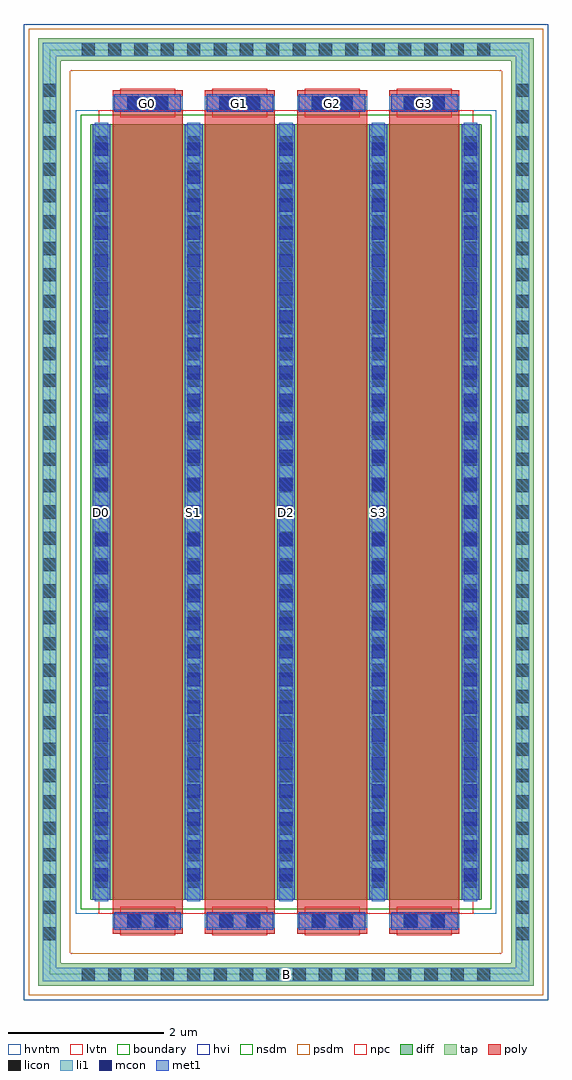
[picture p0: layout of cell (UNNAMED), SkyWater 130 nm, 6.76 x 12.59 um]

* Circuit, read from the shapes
.subckt (UNNAMED) B D0 D2 G0 G1 G2 G3 S1 S3
XM1 S1 G0 D0 B sky130_fd_pr__nfet_05v0_nvt w=10 l=0.9
XM2 D2 G1 S1 B sky130_fd_pr__nfet_05v0_nvt w=10 l=0.9
XM3 S3 G2 D2 B sky130_fd_pr__nfet_05v0_nvt w=10 l=0.9
XM4 n1 G3 S3 B sky130_fd_pr__nfet_05v0_nvt w=10 l=0.9
.ends

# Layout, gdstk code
import gdstk
lib = gdstk.Library(unit=1e-6, precision=1e-09)
def R(c, l, rs):  # rectangles x0, y0, x1, y1
    for r in rs: c.add(gdstk.rectangle(r[:2], r[2:], *l))
def A(c, l, x, y, w, h, nx, ny, dx, dy):  # array of equal rectangles
    R(c, l, [(x+i*dx, y+j*dy, x+i*dx+w, y+j*dy+h) for i in range(nx) for j in range(ny)])
diff = (65, 20)
tap = (65, 44)
poly = (66, 20)
licon = (66, 44)
li1 = (67, 20)
mcon = (67, 44)
met1 = (68, 20)
hvi = (75, 20)
nsdm = (93, 44)
psdm = (94, 20)
npc = (95, 20)
hvntm = (125, 20)
lvtn = (125, 44)
boundary = (235, 4)

c__unnamed_ = lib.new_cell('(UNNAMED)')
R(c__unnamed_, diff, [(-2.525,-5,2.525,5)])
R(c__unnamed_, tap, [(-3.195,-6.11,3.195,-5.82), (-3.195,-5.82,-2.905,5.82), (2.905,-5.82,3.195,5.82), (-3.195,5.82,3.195,6.11)])
A(c__unnamed_, poly, -2.235, -5.44, 0.9, 10.88, 4, 1, 1.19, 0)
A(c__unnamed_, licon, -2.635, -6.05, 0.17, 0.17, 16, 2, 0.34, 11.93)
A(c__unnamed_, licon, -3.135, -5.525, 0.17, 0.17, 1, 33, 0, 0.34)
A(c__unnamed_, licon, 2.965, -5.525, 0.17, 0.17, 1, 33, 0, 0.34)
A(c__unnamed_, licon, -2.465, -4.845, 0.17, 0.17, 5, 29, 1.19, 0.34)
R(c__unnamed_, licon, [(-2.04,-5.36,-1.87,-5.19), (-1.7,-5.36,-1.53,-5.19), (-0.85,-5.36,-0.68,-5.19), (-0.51,-5.36,-0.34,-5.19), (0.34,-5.36,0.51,-5.19), (0.68,-5.36,0.85,-5.19), (1.53,-5.36,1.7,-5.19), (1.87,-5.36,2.04,-5.19), (-2.04,5.19,-1.87,5.36), (-1.7,5.19,-1.53,5.36), (-0.85,5.19,-0.68,5.36), (-0.51,5.19,-0.34,5.36), (0.34,5.19,0.51,5.36), (0.68,5.19,0.85,5.36), (1.53,5.19,1.7,5.36), (1.87,5.19,2.04,5.36)])
A(c__unnamed_, li1, -2.235, -5.36, 0.9, 0.17, 4, 2, 1.19, 10.55)
A(c__unnamed_, li1, -2.465, -5.02, 0.17, 10.04, 5, 1, 1.19, 0)
R(c__unnamed_, li1, [(-3.135,-6.05,3.135,-5.88), (-3.135,-5.88,-2.965,5.88), (2.965,-5.88,3.135,5.88), (-3.135,5.88,3.135,6.05)])
A(c__unnamed_, mcon, -2.465, -4.765, 0.17, 0.17, 5, 27, 1.19, 0.36)
R(c__unnamed_, mcon, [(-2.05,-5.36,-1.88,-5.19), (-1.69,-5.36,-1.52,-5.19), (-0.86,-5.36,-0.69,-5.19), (-0.5,-5.36,-0.33,-5.19), (0.33,-5.36,0.5,-5.19), (0.69,-5.36,0.86,-5.19), (1.52,-5.36,1.69,-5.19), (1.88,-5.36,2.05,-5.19), (-2.05,5.19,-1.88,5.36), (-1.69,5.19,-1.52,5.36), (-0.86,5.19,-0.69,5.36), (-0.5,5.19,-0.33,5.36), (0.33,5.19,0.5,5.36), (0.69,5.19,0.86,5.36), (1.52,5.19,1.69,5.36), (1.88,5.19,2.05,5.36)])
A(c__unnamed_, met1, -2.215, -5.39, 0.86, 0.23, 4, 2, 1.19, 10.55)
A(c__unnamed_, met1, -2.495, -5, 0.23, 10, 5, 1, 1.19, 0)
R(c__unnamed_, hvi, [(-3.38,-6.295,3.38,6.295)])
R(c__unnamed_, nsdm, [(-2.65,-5.125,2.65,5.125)])
R(c__unnamed_, psdm, [(-3.32,-6.235,3.32,-5.695), (-3.32,-5.695,-2.78,5.695), (2.78,-5.695,3.32,5.695), (-3.32,5.695,3.32,6.235)])
A(c__unnamed_, npc, -2.14, -5.46, 0.71, 0.37, 4, 2, 1.19, 10.55)
R(c__unnamed_, hvntm, [(-2.71,-5.185,2.71,5.185)])
R(c__unnamed_, lvtn, [(-2.415,-5.18,2.415,5.18)])
R(c__unnamed_, boundary, [(-3.05,-5.965,3.05,5.965)])
c__unnamed_.add(gdstk.Label('B', (0,-5.965), layer=67, texttype=5))
c__unnamed_.add(gdstk.Label('D0', (-2.38,0), layer=67, texttype=5))
c__unnamed_.add(gdstk.Label('G0', (-1.785,5.275), layer=67, texttype=5))
c__unnamed_.add(gdstk.Label('S1', (-1.19,0), layer=67, texttype=5))
c__unnamed_.add(gdstk.Label('G1', (-0.595,5.275), layer=67, texttype=5))
c__unnamed_.add(gdstk.Label('D2', (0,0), layer=67, texttype=5))
c__unnamed_.add(gdstk.Label('G2', (0.595,5.275), layer=67, texttype=5))
c__unnamed_.add(gdstk.Label('S3', (1.19,0), layer=67, texttype=5))
c__unnamed_.add(gdstk.Label('G3', (1.785,5.275), layer=67, texttype=5))

lib.write_gds('_UNNAMED_.gds')
